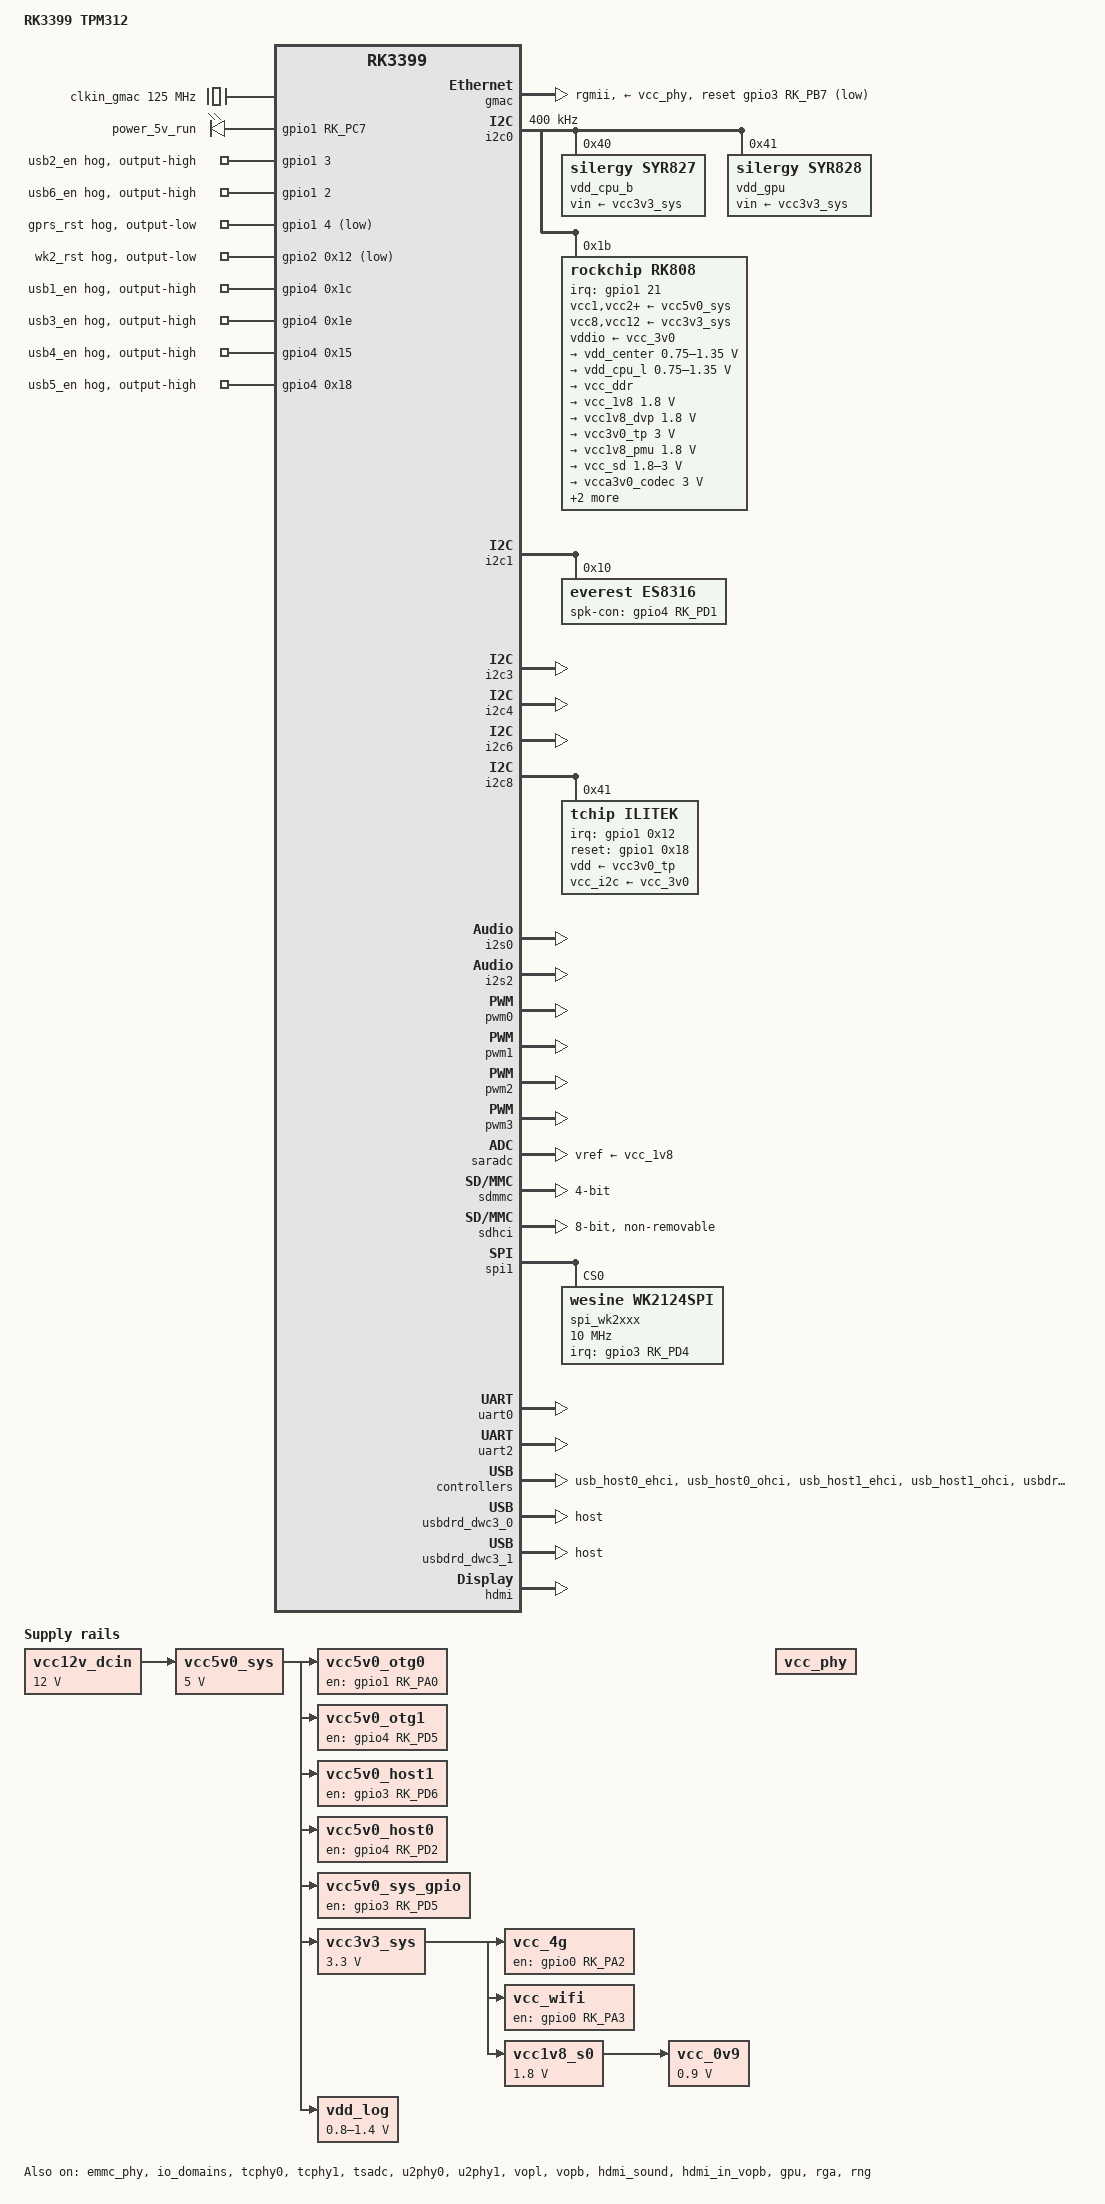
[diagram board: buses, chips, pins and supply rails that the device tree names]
// SPDX-License-Identifier: (GPL-2.0+ OR MIT)
 /*
  * Copyright (c) 2017 Fuzhou Rockchip Electronics Co., Ltd.
  * Copyright (c) 2023 LunaticKochiya <125438787@qq.com>
  */
/dts-v1/;
#include <dt-bindings/pwm/pwm.h>
#include <dt-bindings/input/input.h>
#include <dt-bindings/interrupt-controller/irq.h>
#include "rk3399.dtsi"
#include "rk3399-opp.dtsi"

/ {
	model = "RK3399 TPM312";
	compatible = "rk3399,tpm312", "rockchip,rk3399";

	aliases {
		ethernet0 = &gmac;
		mmc0 = &sdhci;
	};

	chosen {
		bootargs = "earlycon=uart8250,mmio32,0xff1a0000 swiotlb=1 coherent_pool=1m";
		stdout-path = "serial2:1500000n8";
	};

	fiq_debugger: fiq-debugger {
		compatible = "rockchip,fiq-debugger";
		rockchip,serial-id = <2>;
		rockchip,wake-irq = <0>;
		rockchip,irq-mode-enable = <0>;  /* If enable uart uses irq instead of fiq */
		rockchip,baudrate = <1500000>;  /* Only 115200 and 1500000 */
		pinctrl-names = "default";
		pinctrl-0 = <&uart2c_xfer>;
		interrupts = <GIC_SPI 150 IRQ_TYPE_LEVEL_HIGH 0>;
	};

	clkin_gmac: external-gmac-clock {
		compatible = "fixed-clock";
		clock-frequency = <125000000>;
		clock-output-names = "clkin_gmac";
		#clock-cells = <0>;
	};

	vcc5v0_otg0: vcc5v0-otg0-regulator {
		pinctrl-0 = <&otg0_vbus_drv>;
		gpio = <&gpio1 RK_PA0 GPIO_ACTIVE_HIGH>;
		regulator-name = "vcc5v0_otg0";
		enable-active-high;
		compatible = "regulator-fixed";
		pinctrl-names = "default";
		regulator-always-on;
		vin-supply = <&vcc5v0_sys>;
	};

	vcc5v0_otg1: vcc5v0-otg1-regulator {
		pinctrl-0 = <&otg1_vbus_drv>;
		gpio = <&gpio4 RK_PD5 GPIO_ACTIVE_HIGH>;
		regulator-name = "vcc5v0_otg1";
		enable-active-high;
		compatible = "regulator-fixed";
		pinctrl-names = "default";
		regulator-always-on;
		vin-supply = <&vcc5v0_sys>;
	};

	vcc5v0_host1: vcc5v0-host1-regulator {
		pinctrl-0 = <&host1_vbus_drv>;
		gpio = <&gpio3 RK_PD6 GPIO_ACTIVE_HIGH>;
		regulator-name = "vcc5v0_host1";
		enable-active-high;
		compatible = "regulator-fixed";
		pinctrl-names = "default";
		regulator-always-on;
		vin-supply = <&vcc5v0_sys>;
	};

	vcc5v0_host0: vcc5v0-host0-regulator {
		pinctrl-0 = <&host0_vbus_drv>;
		gpio = <&gpio4 RK_PD2 GPIO_ACTIVE_HIGH>;
		regulator-name = "vcc5v0_host0";
		enable-active-high;
		compatible = "regulator-fixed";
		pinctrl-names = "default";
		regulator-always-on;
		vin-supply = <&vcc5v0_sys>;
	};

	vcc5v0-sys {
		regulator-boot-on;
		pinctrl-0 = <&vcc5sys_gpio>;
		gpio = <&gpio3 RK_PD5 GPIO_ACTIVE_HIGH>;
		regulator-name = "vcc5v0_sys_gpio";
		enable-active-high;
		compatible = "regulator-fixed";
		pinctrl-names = "default";
		regulator-always-on;
		vin-supply = <&vcc5v0_sys>;
	};

	vcc-4g {
		regulator-boot-on;
		pinctrl-0 = <&vcc_4g_gpio>;
		gpio = <&gpio0 RK_PA2 GPIO_ACTIVE_HIGH>;
		regulator-name = "vcc_4g";
		enable-active-high;
		compatible = "regulator-fixed";
		pinctrl-names = "default";
		regulator-always-on;
		vin-supply = <&vcc3v3_sys>;
	};

	vcc-wifi {
		pinctrl-0 = <&wifi_host_wake_l>;
		gpio = <&gpio0 RK_PA3 GPIO_ACTIVE_HIGH>;
		regulator-name = "vcc_wifi";
		enable-active-high;
		compatible = "regulator-fixed";
		pinctrl-names = "default";
		regulator-always-on;
		vin-supply = <&vcc3v3_sys>;
	};

    leds {
		compatible = "gpio-leds";
        pinctrl-names = "default";
		pinctrl-0 = <&leds_pins>;
		power5v-led {
	        gpios = <&gpio1 RK_PC7 GPIO_ACTIVE_HIGH>;
			default-state = "on";
			label = "power_5v_run";
		};
	};

//REPLACE  dc_5v
	vcc12v_dcin: dc-12v {
		compatible = "regulator-fixed";
		regulator-name = "vcc12v_dcin";
		regulator-always-on;
		regulator-boot-on;
		regulator-min-microvolt = <12000000>;
		regulator-max-microvolt = <12000000>;
	};

	vcc_phy: vcc-phy-regulator {
		compatible = "regulator-fixed";
		regulator-name = "vcc_phy";
		regulator-always-on;
		regulator-boot-on;
	};

	vcc5v0_sys: vcc-sys {
		compatible = "regulator-fixed";
		regulator-name = "vcc5v0_sys";
		regulator-min-microvolt = <5000000>;
		regulator-max-microvolt = <5000000>;
		regulator-always-on;
		regulator-boot-on;
		vin-supply = <&vcc12v_dcin>;
	};

	vcc3v3_sys: vcc3v3-sys {
		compatible = "regulator-fixed";
		regulator-name = "vcc3v3_sys";
		regulator-min-microvolt = <3300000>;
		regulator-max-microvolt = <3300000>;
		regulator-always-on;
		regulator-boot-on;
		vin-supply = <&vcc5v0_sys>;
	};

	vcc1v8_s0: vcc1v8-s0 {
		compatible = "regulator-fixed";
		regulator-name = "vcc1v8_s0";
		regulator-min-microvolt = <1800000>;
		regulator-max-microvolt = <1800000>;
		regulator-always-on;
		vin-supply = <&vcc3v3_sys>;
	};

	vcc_0v9: vcc-0v9 {
		compatible = "regulator-fixed";
		regulator-name = "vcc_0v9";
		regulator-always-on;
		regulator-boot-on;
		regulator-min-microvolt = <900000>;
		regulator-max-microvolt = <900000>;
		vin-supply = <&vcc1v8_s0>;
	};

	vdd_log: vdd-log {
		compatible = "pwm-regulator";
		pwms = <&pwm3 0 25000 1>;
		rockchip,pwm_voltage = <900000>;
		pwm-supply = <&vcc5v0_sys>;
		regulator-name = "vdd_log";
		regulator-min-microvolt = <800000>;
		regulator-max-microvolt = <1400000>;
		regulator-always-on;
		regulator-boot-on;
	};

	sound {
		compatible = "simple-audio-card";
		simple-audio-card,name = "rockchip,es8316-codec";
		simple-audio-card,format = "i2s";
		simple-audio-card,mclk-fs = <256>;

		simple-audio-card,widgets =
			"Microphone", "Mic Jack",
			"Headphone", "Headphones";
		simple-audio-card,routing =
			"MIC1", "Mic Jack",
			"Headphones", "HPOL",
			"Headphones", "HPOR";

		//simple-audio-card,hp-det-gpio = <&gpio4 RK_PD1 GPIO_ACTIVE_LOW>;
		//simple-audio-card,pin-switches = "Speaker";

		simple-audio-card,cpu {
			sound-dai = <&i2s0>;
		};

		simple-audio-card,codec {
			sound-dai = <&es8316>;
		};
	};

    rng: rng@ff8b8000 {
		compatible = "rockchip,cryptov1-rng";
		reg = <0x0 0xff8b8000 0x0 0x1000>;
		clocks = <&cru SCLK_CRYPTO1>, <&cru HCLK_S_CRYPTO1>;
		clock-names = "clk_crypto", "hclk_crypto";
		assigned-clocks = <&cru SCLK_CRYPTO1>, <&cru HCLK_S_CRYPTO1>;
		assigned-clock-rates = <150000000>, <100000000>;
		status = "okay";
	};
};

&cpu_l0 {
	cpu-supply = <&vdd_cpu_l>;
};

&cpu_l1 {
	cpu-supply = <&vdd_cpu_l>;
};

&cpu_l2 {
	cpu-supply = <&vdd_cpu_l>;
};

&cpu_l3 {
	cpu-supply = <&vdd_cpu_l>;
};

&cpu_b0 {
	cpu-supply = <&vdd_cpu_b>;
};

&cpu_b1 {
	cpu-supply = <&vdd_cpu_b>;
};

&emmc_phy {
	status = "okay";
};

&gmac {
	assigned-clocks = <&cru SCLK_RMII_SRC>;
	assigned-clock-parents = <&clkin_gmac>;
	clock_in_out = "input";
	phy-supply = <&vcc_phy>;
	phy-mode = "rgmii";
	pinctrl-names = "default";
	pinctrl-0 = <&rgmii_pins>;
	snps,reset-gpio = <&gpio3 RK_PB7 GPIO_ACTIVE_LOW>;
	snps,reset-active-low;
	snps,reset-delays-us = <0 10000 50000>;
	tx_delay = <0x28>;
	rx_delay = <0x11>;
	status = "okay";
};


&i2c0 {
	status = "okay";
	i2c-scl-rising-time-ns = <168>;
	i2c-scl-falling-time-ns = <4>;
	clock-frequency = <400000>;

	vdd_cpu_b: syr827@40 {
		compatible = "silergy,syr827";
		reg = <0x40>;
		regulator-compatible = "fan53555-reg";
		pinctrl-0 = <&vsel1_pin>;
		regulator-name = "vdd_cpu_b";
		regulator-min-microvolt = <712500>;
		regulator-max-microvolt = <1500000>;
		regulator-ramp-delay = <1000>;
		fcs,suspend-voltage-selector = <1>;
		regulator-always-on;
		regulator-boot-on;
		vin-supply = <&vcc3v3_sys>;
		regulator-state-mem {
			regulator-off-in-suspend;
		};
	};

	vdd_gpu: syr828@41 {
		compatible = "silergy,syr828";
		reg = <0x41>;
		regulator-compatible = "fan53555-reg";
		pinctrl-0 = <&vsel2_pin>;
		regulator-name = "vdd_gpu";
		regulator-min-microvolt = <712500>;
		regulator-max-microvolt = <1500000>;
		regulator-ramp-delay = <1000>;
		fcs,suspend-voltage-selector = <1>;
		regulator-always-on;
		regulator-boot-on;
		vin-supply = <&vcc3v3_sys>;
		regulator-initial-mode = <1>;
		regulator-state-mem {
			regulator-off-in-suspend;
		};
	};

	rk808: pmic@1b {
		compatible = "rockchip,rk808";
		reg = <0x1b>;
		interrupt-parent = <&gpio1>;
		interrupts = <21 IRQ_TYPE_LEVEL_LOW>;
		pinctrl-names = "default";
		pinctrl-0 = <&pmic_int_l &pmic_dvs2>;
		rockchip,system-power-controller;
		wakeup-source;
		#clock-cells = <1>;
		clock-output-names = "xin32k", "rk808-clkout2";

		vcc1-supply = <&vcc5v0_sys>;
		vcc2-supply = <&vcc5v0_sys>;
		vcc3-supply = <&vcc5v0_sys>;
		vcc4-supply = <&vcc5v0_sys>;
		vcc6-supply = <&vcc5v0_sys>;
		vcc7-supply = <&vcc5v0_sys>;
		vcc8-supply = <&vcc3v3_sys>;
		vcc9-supply = <&vcc5v0_sys>;
		vcc10-supply = <&vcc5v0_sys>;
		vcc11-supply = <&vcc5v0_sys>;
		vcc12-supply = <&vcc3v3_sys>;
		vddio-supply = <&vcc_3v0>;

		regulators {
			vdd_center: DCDC_REG1 {
				regulator-name = "vdd_center";
				regulator-min-microvolt = <750000>;
				regulator-max-microvolt = <1350000>;
				regulator-ramp-delay = <6001>;
				regulator-always-on;
				regulator-boot-on;
				regulator-state-mem {
					regulator-off-in-suspend;
				};
			};

			vdd_cpu_l: DCDC_REG2 {
				regulator-name = "vdd_cpu_l";
				regulator-min-microvolt = <750000>;
				regulator-max-microvolt = <1350000>;
				regulator-ramp-delay = <6001>;
				regulator-always-on;
				regulator-boot-on;
				regulator-state-mem {
					regulator-off-in-suspend;
				};
			};

			vcc_ddr: DCDC_REG3 {
				regulator-name = "vcc_ddr";
				regulator-always-on;
				regulator-boot-on;
				regulator-state-mem {
					regulator-on-in-suspend;
				};
			};

			vcc_1v8: DCDC_REG4 {
				regulator-name = "vcc_1v8";
				regulator-min-microvolt = <1800000>;
				regulator-max-microvolt = <1800000>;
				regulator-always-on;
				regulator-boot-on;
				regulator-state-mem {
					regulator-on-in-suspend;
					regulator-suspend-microvolt = <1800000>;
				};
			};

			vcc1v8_dvp: LDO_REG1 {
				regulator-name = "vcc1v8_dvp";
				regulator-min-microvolt = <1800000>;
				regulator-max-microvolt = <1800000>;
				regulator-always-on;
				regulator-boot-on;
				regulator-state-mem {
					regulator-on-in-suspend;
				};
			};

			vcc3v0_tp: LDO_REG2 {
				regulator-name = "vcc3v0_tp";
				regulator-min-microvolt = <3000000>;
				regulator-max-microvolt = <3000000>;
				regulator-always-on;
				regulator-boot-on;
				regulator-state-mem {
					regulator-off-in-suspend;
				};
			};

			vcc1v8_pmu: LDO_REG3 {
				regulator-name = "vcc1v8_pmu";
				regulator-min-microvolt = <1800000>;
				regulator-max-microvolt = <1800000>;
				regulator-always-on;
				regulator-boot-on;
				regulator-state-mem {
					regulator-on-in-suspend;
					regulator-suspend-microvolt = <1800000>;
				};
			};

			vcc_sd: LDO_REG4 {
				regulator-name = "vcc_sd";
				regulator-min-microvolt = <1800000>;
				regulator-max-microvolt = <3000000>;
				regulator-always-on;
				regulator-boot-on;
				regulator-state-mem {
					regulator-on-in-suspend;
					regulator-suspend-microvolt = <3000000>;
				};
			};

			vcca3v0_codec: LDO_REG5 {
				regulator-name = "vcca3v0_codec";
				regulator-min-microvolt = <3000000>;
				regulator-max-microvolt = <3000000>;
				regulator-always-on;
				regulator-boot-on;
				regulator-state-mem {
					regulator-off-in-suspend;
				};
			};

			vcc_1v5: LDO_REG6 {
				regulator-name = "vcc_1v5";
				regulator-min-microvolt = <1500000>;
				regulator-max-microvolt = <1500000>;
				regulator-always-on;
				regulator-boot-on;
				regulator-state-mem {
					regulator-on-in-suspend;
					regulator-suspend-microvolt = <1500000>;
				};
			};

			vcca1v8_codec: LDO_REG7 {
				regulator-name = "vcca1v8_codec";
				regulator-min-microvolt = <1800000>;
				regulator-max-microvolt = <1800000>;
				regulator-always-on;
				regulator-boot-on;
				regulator-state-mem {
					regulator-off-in-suspend;
				};
			};

			vcc_3v0: LDO_REG8 {
				regulator-name = "vcc_3v0";
				regulator-min-microvolt = <3000000>;
				regulator-max-microvolt = <3000000>;
				regulator-always-on;
				regulator-boot-on;
				regulator-state-mem {
					regulator-on-in-suspend;
					regulator-suspend-microvolt = <3000000>;
				};
			};

			vcc3v3_s3: SWITCH_REG1 {
				regulator-name = "vcc3v3_s3";
				regulator-always-on;
				regulator-boot-on;
				regulator-state-mem {
					regulator-off-in-suspend;
				};
			};

			vcc3v3_s0: SWITCH_REG2 {
				regulator-name = "vcc3v3_s0";
				regulator-always-on;
				regulator-boot-on;
				regulator-state-mem {
					regulator-off-in-suspend;
				};
			};
		};
        rtc {
            rkrtc: rk808-rtc {
                status="okay";
            };
        };
	};
};

&i2c1 {
	i2c-scl-rising-time-ns = <300>;
	i2c-scl-falling-time-ns = <15>;
	status = "okay";
   
    es8316: codec@10 {
        compatible = "everest,es8316";
        reg = <0x10>;
        clocks = <&cru SCLK_I2S_8CH_OUT>;
        clock-names = "mclk";
        #sound-dai-cells = <0>;
        //pinctrl-names = "default";
		//pinctrl-0 = <&i2s_8ch_mclk>;
        spk-con-gpio = <&gpio4 RK_PD1 GPIO_ACTIVE_HIGH>;
    };
};


&i2c3 {
	i2c-scl-rising-time-ns = <450>;
	i2c-scl-falling-time-ns = <15>;
	status = "okay";
};

&i2c4 {
    i2c-scl-rising-time-ns = <600>;
    i2c-scl-falling-time-ns = <20>;
    status = "okay";
    mpu6500@68 {
        status = "disabled";
        compatible = "invensense,mpu6500";
        reg = <0x68>;
        irq-gpio = <&gpio1 0x16 0x01>;
        mpu-int_config = <0x10>;
        mpu-level_shifter = <0x00>;
        mpu-orientation = <0x00 0x01 0x00 0x01 0x00 0x00 0x00 0x00 0x01>;
        orientation-x = <0x01>;
        orientation-y = <0x00>;
        orientation-z = <0x00>;
        mpu-debug = <0x01>;
    };

};

&i2c6 {
    status = "okay";
};

&i2c8 {
    status = "okay";  
    ilitek@41 {
        compatible = "tchip,ilitek";
        reg = <0x41>;
        vdd-supply = <&vcc3v0_tp>;
        vcc_i2c-supply = <&vcc_3v0>;
        ilitek,irq-gpio = <&gpio1 0x12 0x00>;
        ilitek,reset-gpio = <&gpio1 0x18 0x00>;
        ilitek,vbus = "vcc_i2c";
        ilitek,vdd = "vdd";
        ilitek,name = "ilitek_i2c";
    };
};

&i2s0 {
	rockchip,playback-channels = <2>;
	rockchip,capture-channels = <2>;
	status = "okay";
	pinctrl-0 = <&i2s0_2ch_bus>;
	pinctrl-1 = <&i2s0_2ch_bus_bclk_off>;
	pinctrl-names = "bclk_on","bclk_off";
};

&i2s2{
    status = "okay";
};

&io_domains {
	status = "okay";
	audio-supply = <&vcca1v8_codec>;
	bt656-supply = <&vcc1v8_dvp>;
	gpio1830-supply = <&vcc_3v0>;
	sdmmc-supply = <&vcc_sd>;
};

&pmu_io_domains {
	status = "okay";
	pmu1830-supply = <&vcc_3v0>;
};

&pinctrl {

	gmac {
		rgmii_sleep_pins: rgmii-sleep-pins {
			rockchip,pins =
				<3 RK_PB7 RK_FUNC_GPIO &pcfg_output_low>;
		};
	};

	pmic {
		vcc5sys_gpio: vcc5sys-gpio {
				rockchip,pins = <3 RK_PD5 RK_FUNC_GPIO &pcfg_pull_down>;
			};

		vcc_4g_gpio: vcc-4g-gpio {
				rockchip,pins = <0 RK_PA2 RK_FUNC_GPIO &pcfg_pull_none>;
			};

		pmic_int_l: pmic-int-l {
			rockchip,pins =
				<1 RK_PC6 RK_FUNC_GPIO &pcfg_pull_up>;
		};

		pmic_dvs2: pmic-dvs2 {
			rockchip,pins =
				<1 RK_PA5 RK_FUNC_GPIO &pcfg_pull_down>;
		};

		vsel1_pin: vsel1-pin {
			rockchip,pins =
				<1 RK_PC1 RK_FUNC_GPIO &pcfg_pull_down>;
		};

		vsel2_pin: vsel2-pin {
			rockchip,pins =
				<1 RK_PB6 RK_FUNC_GPIO &pcfg_pull_down>;
		};

        wk2_irq:wk2-irq {
            rockchip,pins = <3 RK_PD4 0 &pcfg_pull_up>;
        };


	};

	u2phy0 {
		otg0_vbus_drv: otg0-vbus-drv {
			rockchip,pins = <1 RK_PA0 RK_FUNC_GPIO &pcfg_pull_none>;
		};
		host0_vbus_drv: host0-vbus-drv {
			rockchip,pins = <4 RK_PD2 RK_FUNC_GPIO &pcfg_pull_none>;
		};
	};

	u2phy1 {
		otg1_vbus_drv: otg1-vbus-drv {
			rockchip,pins = <4 RK_PD5 RK_FUNC_GPIO &pcfg_pull_none>;
		};
		host1_vbus_drv: host1-vbus-drv {
			rockchip,pins = <3 RK_PD6 RK_FUNC_GPIO &pcfg_pull_none>;
		};
	};

	wifi {
		wifi_host_wake_l: wifi-host-wake-l {
			rockchip,pins = <0 RK_PA3 RK_FUNC_GPIO &pcfg_pull_none>;
		};
	};

	uart1 {
		uart1_xfer: uart1-xfer {
			rockchip,pins =
			    <3 RK_PC3 2 &pcfg_pull_up>,
			    <3 RK_PC4 2 &pcfg_pull_none>;
		};
	};

	leds {
		leds_pins: leds-pins {
			rockchip,pins = <1 RK_PC7 RK_FUNC_GPIO &pcfg_pull_up>;
		};
	};

	i2s0 {
		i2s_8ch_mclk: i2s-8ch-mclk {
			rockchip,pins = <4 RK_PA0 1 &pcfg_pull_none>;
		};
	};

		

};

&pwm0 {
	status = "okay";
};

&pwm1 {
	status = "okay";
};

&pwm2 {
	status = "okay";
};

&pwm3 {
	status = "okay";
};

&saradc {
	status = "okay";
};

&sdmmc {
	clock-frequency = <150000000>;
	max-frequency = <150000000>;
	supports-sd;
	bus-width = <4>;
	cap-mmc-highspeed;
	cap-sd-highspeed;
	disable-wp;
	vqmmc-supply = <&vcc_sd>;
	pinctrl-names = "default";
	pinctrl-0 = <&sdmmc_clk &sdmmc_cmd &sdmmc_cd &sdmmc_bus4>;
	card-detect-delay = <800>;
	status = "okay";
};

&sdhci {
	bus-width = <8>;
	mmc-hs400-1_8v;
	mmc-hs400-enhanced-strobe;
	supports-emmc;
	non-removable;
	keep-power-in-suspend;
	status = "okay";
};

&spi1 {
	status = "okay";
    //max-freq = <48000000>
    spi_wk2xxx@0 {
        status = "okay";
        compatible = "wesine,wk2124spi","wkmic,wk2124spi";
        reg = <0x00>;
        spi-max-frequency = <0x989680>;
        poll_mode = <0x00>;
        type = <0x00>;
        enable_dma = <0x00>;
        irq_gpio = <&gpio3 RK_PD4 4>;
        pinctrl-names = "default";
        pinctrl-0 = <&wk2_irq>;
    };
};

&tcphy0 {
	status = "okay";
};

&tcphy1 {
	status = "okay";
};

&tsadc {
	rockchip,hw-tshut-mode = <1>;
	rockchip,hw-tshut-polarity = <1>;
	status = "okay";
};

&u2phy0 {
	status = "okay";

	u2phy0_otg: otg-port {
		phy-supply = <&vcc5v0_otg0>;
		status = "okay";
	};

	u2phy0_host: host-port {
		phy-supply = <&vcc5v0_host0>;
		status = "okay";
	};
};

&u2phy1 {
	status = "okay";

	u2phy1_otg: otg-port {
		phy-supply = <&vcc5v0_otg1>;
		status = "okay";
	};

	u2phy1_host: host-port {
		phy-supply = <&vcc5v0_host1>;
		status = "okay";
	};
};

&uart0 {
	status = "okay";
};

&uart2 {
	status = "okay";
};

&usb_host0_ehci {
	status = "okay";
};

&usb_host0_ohci {
	status = "okay";
};

&usb_host1_ehci {
	status = "okay";
};

&usb_host1_ohci {
	status = "okay";
};

&usbdrd3_0 {
	status = "okay";
};

&usbdrd_dwc3_0 {
	dr_mode = "host";
	status = "okay";
};

&usbdrd3_1 {
	status = "okay";
};

&usbdrd_dwc3_1 {
	dr_mode = "host";
	status = "okay";
};

&vopl {
    status = "okay";
    rockchip,grf = <&grf>;
};
&vopb {
    status = "okay";
    rockchip,grf = <&grf>;
};
&vopl_mmu {
    status = "okay";
    interrupt-names = "vopl_mmu";
};
&vopb_mmu {
    status = "okay";
    interrupt-names = "vopb_mmu";
};

&hdmi {
    status = "okay";
    pinctrl-names = "default";
    ddc-i2c-bus = <&i2c3>;
    pinctrl-0 = <&hdmi_cec>;
};
&hdmi_sound {
    status = "okay";
};
&hdmi_in_vopb{
    status = "okay";
};
&hdmi_in_vopl{
    status="disabled";
};
&gpu{
	mali-supply = <&vdd_gpu>;
    ower-off-delay-ms = <200>;
    status = "okay";
};
&saradc {
	status = "okay";
	vref-supply = <&vcc_1v8>;
};

&rga {
	compatible = "rockchip,rk3399-rga","rockchip,rga2";
	status = "okay";
	dev_mode = <1>;
	dma-coherent;
};
&gpio1 {
	usb2_en {
		gpio-hog;
		gpios = <3 0>;
		output-high;
	};
	usb6_en {
		gpio-hog;
		gpios = <2 0>;
		output-high;
	};
	gprs_rst {
		gpio-hog;
		gpios = <4 1>;
		output-low;
	};
};

&gpio2 {
	wk2_rst {
		gpio-hog;
		gpios = <0x12 0x01>;
		output-low;
	};
};

&gpio4 {
	usb1_en {
		gpio-hog;
		gpios = <0x1c 0x00>;
		output-high;
	};
	usb3_en {
		gpio-hog;
		gpios = <0x1e 0x00>;
		output-high;
	};
	usb4_en {
		gpio-hog;
		gpios = <0x15 0x00>;
		output-high;
	};
	usb5_en {
		gpio-hog;
		gpios = <0x18 0x00>;
		output-high;
	};
};
